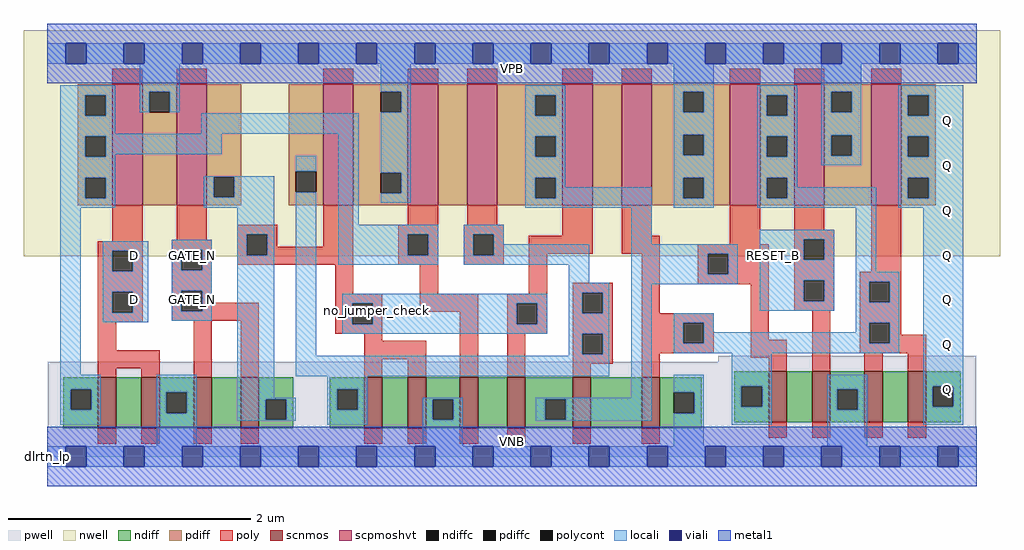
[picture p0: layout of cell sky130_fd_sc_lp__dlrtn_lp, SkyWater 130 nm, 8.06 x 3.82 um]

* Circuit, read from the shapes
.subckt sky130_fd_sc_lp__dlrtn_lp D GATE_N RESET_B VGND VNB VPB VPWR Q
XM1 n1 D n2 VNB sky130_fd_pr__nfet_01v8 w=0.42 l=0.15
XM2 VGND D n1 VNB sky130_fd_pr__nfet_01v8 w=0.42 l=0.15
XM3 n3 GATE_N VGND VNB sky130_fd_pr__nfet_01v8 w=0.42 l=0.15
XM4 n4 GATE_N n3 VNB sky130_fd_pr__nfet_01v8 w=0.42 l=0.15
XM5 n5 n4 n6 VNB sky130_fd_pr__nfet_01v8 w=0.42 l=0.15
XM6 VGND n4 n5 VNB sky130_fd_pr__nfet_01v8 w=0.42 l=0.15
XM7 n7 n2 VGND VNB sky130_fd_pr__nfet_01v8 w=0.42 l=0.15
XM8 n8 n4 n7 VNB sky130_fd_pr__nfet_01v8 w=0.42 l=0.15
XM9 n9 n6 n8 VNB sky130_fd_pr__nfet_01v8 w=0.42 l=0.15
XM10 VGND n10 n9 VNB sky130_fd_pr__nfet_01v8 w=0.42 l=0.15
XM11 n11 n8 n10 VNB sky130_fd_pr__nfet_01v8 w=0.42 l=0.15
XM12 VGND RESET_B n11 VNB sky130_fd_pr__nfet_01v8 w=0.42 l=0.15
XM13 n12 n10 VGND VNB sky130_fd_pr__nfet_01v8 w=0.42 l=0.15
XM14 Q n10 n12 VNB sky130_fd_pr__nfet_01v8 w=0.42 l=0.15
XM15 VPWR D n2 VPB sky130_fd_pr__pfet_01v8_hvt w=1 l=0.25
XM16 n4 GATE_N VPWR VPB sky130_fd_pr__pfet_01v8_hvt w=1 l=0.25
XM17 VPWR n4 n6 VPB sky130_fd_pr__pfet_01v8_hvt w=1 l=0.25
XM18 n13 n2 VPWR VPB sky130_fd_pr__pfet_01v8_hvt w=1 l=0.25
XM19 n8 n6 n13 VPB sky130_fd_pr__pfet_01v8_hvt w=1 l=0.25
XM20 n14 n4 n8 VPB sky130_fd_pr__pfet_01v8_hvt w=1 l=0.25
XM21 VPWR n10 n14 VPB sky130_fd_pr__pfet_01v8_hvt w=1 l=0.25
XM22 n10 n8 VPWR VPB sky130_fd_pr__pfet_01v8_hvt w=1 l=0.25
XM23 VPWR RESET_B n10 VPB sky130_fd_pr__pfet_01v8_hvt w=1 l=0.25
XM24 Q n10 VPWR VPB sky130_fd_pr__pfet_01v8_hvt w=1 l=0.25
.ends

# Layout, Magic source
magic
tech sky130A
magscale 1 2
<< nwell >>
rect -38 331 1574 704
<< pwell >>
rect 1109 157 1535 167
rect 1 49 1535 157
rect 0 0 1536 49
<< scnmos >>
rect 84 47 114 131
rect 156 47 186 131
rect 242 47 272 131
rect 320 47 350 131
rect 524 47 554 131
rect 596 47 626 131
rect 682 47 712 131
rect 760 47 790 131
rect 868 47 898 131
rect 982 47 1012 131
rect 1192 57 1222 141
rect 1264 57 1294 141
rect 1350 57 1380 141
rect 1422 57 1452 141
<< scpmoshvt >>
rect 108 415 158 615
rect 214 415 264 615
rect 456 415 506 615
rect 596 415 646 615
rect 694 415 744 615
rect 851 415 901 615
rect 949 415 999 615
rect 1128 415 1178 615
rect 1234 415 1284 615
rect 1361 415 1411 615
<< ndiff >>
rect 27 111 84 131
rect 27 77 39 111
rect 73 77 84 111
rect 27 47 84 77
rect 114 47 156 131
rect 186 106 242 131
rect 186 72 197 106
rect 231 72 242 106
rect 186 47 242 72
rect 272 47 320 131
rect 350 95 407 131
rect 350 61 361 95
rect 395 61 407 95
rect 350 47 407 61
rect 467 111 524 131
rect 467 77 479 111
rect 513 77 524 111
rect 467 47 524 77
rect 554 47 596 131
rect 626 95 682 131
rect 626 61 637 95
rect 671 61 682 95
rect 626 47 682 61
rect 712 47 760 131
rect 790 95 868 131
rect 790 61 823 95
rect 857 61 868 95
rect 790 47 868 61
rect 898 47 982 131
rect 1012 106 1081 131
rect 1012 72 1035 106
rect 1069 72 1081 106
rect 1012 47 1081 72
rect 1135 116 1192 141
rect 1135 82 1147 116
rect 1181 82 1192 116
rect 1135 57 1192 82
rect 1222 57 1264 141
rect 1294 111 1350 141
rect 1294 77 1305 111
rect 1339 77 1350 111
rect 1294 57 1350 77
rect 1380 57 1422 141
rect 1452 116 1509 141
rect 1452 82 1463 116
rect 1497 82 1509 116
rect 1452 57 1509 82
<< pdiff >>
rect 51 597 108 615
rect 51 563 63 597
rect 97 563 108 597
rect 51 529 108 563
rect 51 495 63 529
rect 97 495 108 529
rect 51 461 108 495
rect 51 427 63 461
rect 97 427 108 461
rect 51 415 108 427
rect 158 603 214 615
rect 158 569 169 603
rect 203 569 214 603
rect 158 415 214 569
rect 264 462 321 615
rect 264 428 275 462
rect 309 428 321 462
rect 264 415 321 428
rect 399 471 456 615
rect 399 437 411 471
rect 445 437 456 471
rect 399 415 456 437
rect 506 603 596 615
rect 506 569 551 603
rect 585 569 596 603
rect 506 469 596 569
rect 506 435 551 469
rect 585 435 596 469
rect 506 415 596 435
rect 646 415 694 615
rect 744 597 851 615
rect 744 563 806 597
rect 840 563 851 597
rect 744 529 851 563
rect 744 495 806 529
rect 840 495 851 529
rect 744 461 851 495
rect 744 427 806 461
rect 840 427 851 461
rect 744 415 851 427
rect 901 415 949 615
rect 999 603 1128 615
rect 999 569 1051 603
rect 1085 569 1128 603
rect 999 532 1128 569
rect 999 498 1051 532
rect 1085 498 1128 532
rect 999 461 1128 498
rect 999 427 1051 461
rect 1085 427 1128 461
rect 999 415 1128 427
rect 1178 597 1234 615
rect 1178 563 1189 597
rect 1223 563 1234 597
rect 1178 529 1234 563
rect 1178 495 1189 529
rect 1223 495 1234 529
rect 1178 461 1234 495
rect 1178 427 1189 461
rect 1223 427 1234 461
rect 1178 415 1234 427
rect 1284 603 1361 615
rect 1284 569 1295 603
rect 1329 569 1361 603
rect 1284 531 1361 569
rect 1284 497 1295 531
rect 1329 497 1361 531
rect 1284 415 1361 497
rect 1411 597 1468 615
rect 1411 563 1422 597
rect 1456 563 1468 597
rect 1411 529 1468 563
rect 1411 495 1422 529
rect 1456 495 1468 529
rect 1411 461 1468 495
rect 1411 427 1422 461
rect 1456 427 1468 461
rect 1411 415 1468 427
<< ndiffc >>
rect 39 77 73 111
rect 197 72 231 106
rect 361 61 395 95
rect 479 77 513 111
rect 637 61 671 95
rect 823 61 857 95
rect 1035 72 1069 106
rect 1147 82 1181 116
rect 1305 77 1339 111
rect 1463 82 1497 116
<< pdiffc >>
rect 63 563 97 597
rect 63 495 97 529
rect 63 427 97 461
rect 169 569 203 603
rect 275 428 309 462
rect 411 437 445 471
rect 551 569 585 603
rect 551 435 585 469
rect 806 563 840 597
rect 806 495 840 529
rect 806 427 840 461
rect 1051 569 1085 603
rect 1051 498 1085 532
rect 1051 427 1085 461
rect 1189 563 1223 597
rect 1189 495 1223 529
rect 1189 427 1223 461
rect 1295 569 1329 603
rect 1295 497 1329 531
rect 1422 563 1456 597
rect 1422 495 1456 529
rect 1422 427 1456 461
<< poly >>
rect 108 615 158 641
rect 214 615 264 641
rect 456 615 506 641
rect 596 615 646 641
rect 694 615 744 641
rect 851 615 901 641
rect 949 615 999 641
rect 1128 615 1178 641
rect 1234 615 1284 641
rect 1361 615 1411 641
rect 108 356 158 415
rect 214 358 264 415
rect 314 367 380 383
rect 84 340 158 356
rect 84 306 108 340
rect 142 306 158 340
rect 84 272 158 306
rect 84 238 108 272
rect 142 238 158 272
rect 84 222 158 238
rect 206 342 272 358
rect 206 308 222 342
rect 256 308 272 342
rect 314 333 330 367
rect 364 347 380 367
rect 456 347 506 415
rect 596 383 646 415
rect 694 383 744 415
rect 364 333 506 347
rect 314 317 506 333
rect 580 367 646 383
rect 580 333 596 367
rect 630 333 646 367
rect 580 317 646 333
rect 688 367 754 383
rect 688 333 704 367
rect 738 333 754 367
rect 851 365 901 415
rect 688 317 754 333
rect 796 335 901 365
rect 949 365 999 415
rect 949 335 1012 365
rect 1128 351 1178 415
rect 1234 375 1284 415
rect 1234 359 1300 375
rect 206 274 272 308
rect 206 240 222 274
rect 256 254 272 274
rect 476 269 506 317
rect 616 269 646 317
rect 796 269 826 335
rect 256 240 350 254
rect 206 224 350 240
rect 84 176 114 222
rect 84 146 186 176
rect 84 131 114 146
rect 156 131 186 146
rect 242 131 272 224
rect 320 131 350 224
rect 476 253 554 269
rect 476 219 504 253
rect 538 219 554 253
rect 616 239 712 269
rect 476 203 554 219
rect 524 191 554 203
rect 524 161 626 191
rect 524 131 554 161
rect 596 131 626 161
rect 682 131 712 239
rect 760 253 826 269
rect 760 219 776 253
rect 810 219 826 253
rect 760 203 826 219
rect 868 271 934 287
rect 868 237 884 271
rect 918 237 934 271
rect 868 203 934 237
rect 760 131 790 203
rect 868 169 884 203
rect 918 169 934 203
rect 868 153 934 169
rect 982 237 1012 335
rect 1075 335 1192 351
rect 1075 301 1091 335
rect 1125 301 1192 335
rect 1075 285 1192 301
rect 982 221 1101 237
rect 982 187 1051 221
rect 1085 187 1101 221
rect 982 171 1101 187
rect 1162 193 1192 285
rect 1234 325 1250 359
rect 1284 325 1300 359
rect 1234 291 1300 325
rect 1361 305 1411 415
rect 1234 257 1250 291
rect 1284 257 1300 291
rect 1234 241 1300 257
rect 1342 289 1411 305
rect 1342 255 1358 289
rect 1392 255 1411 289
rect 868 131 898 153
rect 982 131 1012 171
rect 1162 163 1222 193
rect 1192 141 1222 163
rect 1264 141 1294 241
rect 1342 221 1411 255
rect 1342 187 1358 221
rect 1392 201 1411 221
rect 1392 187 1452 201
rect 1342 171 1452 187
rect 1350 141 1380 171
rect 1422 141 1452 171
rect 84 21 114 47
rect 156 21 186 47
rect 242 21 272 47
rect 320 21 350 47
rect 524 21 554 47
rect 596 21 626 47
rect 682 21 712 47
rect 760 21 790 47
rect 868 21 898 47
rect 982 21 1012 47
rect 1192 31 1222 57
rect 1264 31 1294 57
rect 1350 31 1380 57
rect 1422 31 1452 57
<< polycont >>
rect 108 306 142 340
rect 108 238 142 272
rect 222 308 256 342
rect 330 333 364 367
rect 596 333 630 367
rect 704 333 738 367
rect 222 240 256 274
rect 504 219 538 253
rect 776 219 810 253
rect 884 237 918 271
rect 884 169 918 203
rect 1091 301 1125 335
rect 1051 187 1085 221
rect 1250 325 1284 359
rect 1250 257 1284 291
rect 1358 255 1392 289
rect 1358 187 1392 221
<< locali >>
rect 0 649 31 683
rect 65 649 127 683
rect 161 649 223 683
rect 257 649 319 683
rect 353 649 415 683
rect 449 649 511 683
rect 545 649 607 683
rect 641 649 703 683
rect 737 649 799 683
rect 833 649 895 683
rect 929 649 991 683
rect 1025 649 1087 683
rect 1121 649 1183 683
rect 1217 649 1279 683
rect 1313 649 1375 683
rect 1409 649 1471 683
rect 1505 649 1536 683
rect 22 597 113 613
rect 22 563 63 597
rect 97 563 113 597
rect 153 603 219 649
rect 153 569 169 603
rect 203 569 219 603
rect 551 603 601 649
rect 585 569 601 603
rect 22 533 113 563
rect 255 533 515 567
rect 22 529 289 533
rect 22 495 63 529
rect 97 499 289 529
rect 97 495 113 499
rect 22 461 113 495
rect 411 471 445 497
rect 22 427 63 461
rect 97 427 113 461
rect 22 411 113 427
rect 259 462 375 463
rect 259 428 275 462
rect 309 428 375 462
rect 259 411 375 428
rect 22 135 56 411
rect 314 367 375 411
rect 92 340 167 356
rect 92 306 108 340
rect 142 306 167 340
rect 92 272 167 306
rect 92 238 108 272
rect 142 238 167 272
rect 92 222 167 238
rect 206 342 272 358
rect 206 308 222 342
rect 256 308 272 342
rect 206 274 272 308
rect 206 240 222 274
rect 256 240 272 274
rect 206 224 272 240
rect 314 333 330 367
rect 364 333 375 367
rect 22 111 89 135
rect 22 77 39 111
rect 73 77 89 111
rect 22 53 89 77
rect 181 106 247 135
rect 181 72 197 106
rect 231 72 247 106
rect 181 17 247 72
rect 314 97 375 333
rect 411 167 445 437
rect 481 383 515 533
rect 551 469 601 569
rect 585 435 601 469
rect 551 419 601 435
rect 790 597 856 613
rect 790 563 806 597
rect 840 563 856 597
rect 790 529 856 563
rect 790 495 806 529
rect 840 495 856 529
rect 790 461 856 495
rect 790 427 806 461
rect 840 445 856 461
rect 1035 603 1101 649
rect 1035 569 1051 603
rect 1085 569 1101 603
rect 1035 532 1101 569
rect 1035 498 1051 532
rect 1085 498 1101 532
rect 1035 461 1101 498
rect 840 427 999 445
rect 790 411 999 427
rect 1035 427 1051 461
rect 1085 427 1101 461
rect 1035 411 1101 427
rect 1173 597 1239 613
rect 1173 563 1189 597
rect 1223 563 1239 597
rect 1173 529 1239 563
rect 1173 495 1189 529
rect 1223 495 1239 529
rect 1173 461 1239 495
rect 1279 603 1345 649
rect 1279 569 1295 603
rect 1329 569 1345 603
rect 1279 531 1345 569
rect 1279 497 1295 531
rect 1329 497 1345 531
rect 1279 481 1345 497
rect 1406 597 1513 613
rect 1406 563 1422 597
rect 1456 563 1513 597
rect 1406 529 1513 563
rect 1406 495 1422 529
rect 1456 495 1513 529
rect 1173 427 1189 461
rect 1223 445 1239 461
rect 1406 461 1513 495
rect 1223 427 1370 445
rect 1173 411 1370 427
rect 1406 427 1422 461
rect 1456 427 1513 461
rect 1406 411 1513 427
rect 481 367 646 383
rect 481 333 596 367
rect 630 333 646 367
rect 481 317 646 333
rect 688 367 754 383
rect 688 333 704 367
rect 738 351 754 367
rect 965 351 999 411
rect 1177 359 1300 375
rect 738 333 896 351
rect 688 317 896 333
rect 862 287 896 317
rect 965 335 1141 351
rect 965 301 1091 335
rect 1125 301 1141 335
rect 862 271 929 287
rect 488 253 826 269
rect 488 219 504 253
rect 538 219 776 253
rect 810 219 826 253
rect 488 203 826 219
rect 862 237 884 271
rect 918 237 929 271
rect 862 203 929 237
rect 862 169 884 203
rect 918 169 929 203
rect 862 167 929 169
rect 411 133 929 167
rect 965 285 1141 301
rect 1177 325 1250 359
rect 1284 325 1300 359
rect 1177 291 1300 325
rect 463 111 529 133
rect 314 95 411 97
rect 314 61 361 95
rect 395 61 411 95
rect 314 59 411 61
rect 463 77 479 111
rect 513 77 529 111
rect 965 97 999 285
rect 1177 257 1250 291
rect 1284 257 1300 291
rect 1177 241 1300 257
rect 1336 305 1370 411
rect 1336 289 1408 305
rect 1336 255 1358 289
rect 1392 255 1408 289
rect 1035 221 1101 237
rect 1035 187 1051 221
rect 1085 205 1101 221
rect 1336 221 1408 255
rect 1336 205 1358 221
rect 1085 187 1358 205
rect 1392 187 1408 221
rect 1035 171 1408 187
rect 463 53 529 77
rect 621 95 687 97
rect 621 61 637 95
rect 671 61 687 95
rect 621 17 687 61
rect 807 95 999 97
rect 807 61 823 95
rect 857 61 999 95
rect 807 59 999 61
rect 1035 106 1085 135
rect 1069 72 1085 106
rect 1035 17 1085 72
rect 1131 116 1197 171
rect 1131 82 1147 116
rect 1181 82 1197 116
rect 1131 53 1197 82
rect 1289 111 1355 135
rect 1289 77 1305 111
rect 1339 77 1355 111
rect 1289 17 1355 77
rect 1447 116 1513 411
rect 1447 82 1463 116
rect 1497 82 1513 116
rect 1447 53 1513 82
rect 0 -17 31 17
rect 65 -17 127 17
rect 161 -17 223 17
rect 257 -17 319 17
rect 353 -17 415 17
rect 449 -17 511 17
rect 545 -17 607 17
rect 641 -17 703 17
rect 737 -17 799 17
rect 833 -17 895 17
rect 929 -17 991 17
rect 1025 -17 1087 17
rect 1121 -17 1183 17
rect 1217 -17 1279 17
rect 1313 -17 1375 17
rect 1409 -17 1471 17
rect 1505 -17 1536 17
<< viali >>
rect 31 649 65 683
rect 127 649 161 683
rect 223 649 257 683
rect 319 649 353 683
rect 415 649 449 683
rect 511 649 545 683
rect 607 649 641 683
rect 703 649 737 683
rect 799 649 833 683
rect 895 649 929 683
rect 991 649 1025 683
rect 1087 649 1121 683
rect 1183 649 1217 683
rect 1279 649 1313 683
rect 1375 649 1409 683
rect 1471 649 1505 683
rect 31 -17 65 17
rect 127 -17 161 17
rect 223 -17 257 17
rect 319 -17 353 17
rect 415 -17 449 17
rect 511 -17 545 17
rect 607 -17 641 17
rect 703 -17 737 17
rect 799 -17 833 17
rect 895 -17 929 17
rect 991 -17 1025 17
rect 1087 -17 1121 17
rect 1183 -17 1217 17
rect 1279 -17 1313 17
rect 1375 -17 1409 17
rect 1471 -17 1505 17
<< metal1 >>
rect 0 683 1536 715
rect 0 649 31 683
rect 65 649 127 683
rect 161 649 223 683
rect 257 649 319 683
rect 353 649 415 683
rect 449 649 511 683
rect 545 649 607 683
rect 641 649 703 683
rect 737 649 799 683
rect 833 649 895 683
rect 929 649 991 683
rect 1025 649 1087 683
rect 1121 649 1183 683
rect 1217 649 1279 683
rect 1313 649 1375 683
rect 1409 649 1471 683
rect 1505 649 1536 683
rect 0 617 1536 649
rect 0 17 1536 49
rect 0 -17 31 17
rect 65 -17 127 17
rect 161 -17 223 17
rect 257 -17 319 17
rect 353 -17 415 17
rect 449 -17 511 17
rect 545 -17 607 17
rect 641 -17 703 17
rect 737 -17 799 17
rect 833 -17 895 17
rect 929 -17 991 17
rect 1025 -17 1087 17
rect 1121 -17 1183 17
rect 1217 -17 1279 17
rect 1313 -17 1375 17
rect 1409 -17 1471 17
rect 1505 -17 1536 17
rect 0 -49 1536 -17
<< labels >>
flabel pwell s 0 0 1536 49 0 FreeSans 200 0 0 0 VNB
port 5 nsew ground bidirectional
flabel nwell s 0 617 1536 666 0 FreeSans 200 0 0 0 VPB
port 6 nsew power bidirectional
rlabel comment s 0 0 0 0 4 dlrtn_lp
flabel comment s 544 242 544 242 0 FreeSans 200 0 0 0 no_jumper_check
flabel metal1 s 0 617 1536 666 0 FreeSans 340 0 0 0 VPWR
port 7 nsew power bidirectional
flabel metal1 s 0 0 1536 49 0 FreeSans 340 0 0 0 VGND
port 4 nsew ground bidirectional
flabel locali s 127 242 161 276 0 FreeSans 340 0 0 0 D
port 1 nsew signal input
flabel locali s 127 316 161 350 0 FreeSans 340 0 0 0 D
port 1 nsew signal input
flabel locali s 1183 316 1217 350 0 FreeSans 340 0 0 0 RESET_B
port 3 nsew signal input
flabel locali s 223 242 257 276 0 FreeSans 340 0 0 0 GATE_N
port 2 nsew clock input
flabel locali s 223 316 257 350 0 FreeSans 340 0 0 0 GATE_N
port 2 nsew clock input
flabel locali s 1471 94 1505 128 0 FreeSans 340 0 0 0 Q
port 8 nsew signal output
flabel locali s 1471 168 1505 202 0 FreeSans 340 0 0 0 Q
port 8 nsew signal output
flabel locali s 1471 242 1505 276 0 FreeSans 340 0 0 0 Q
port 8 nsew signal output
flabel locali s 1471 316 1505 350 0 FreeSans 340 0 0 0 Q
port 8 nsew signal output
flabel locali s 1471 390 1505 424 0 FreeSans 340 0 0 0 Q
port 8 nsew signal output
flabel locali s 1471 464 1505 498 0 FreeSans 340 0 0 0 Q
port 8 nsew signal output
flabel locali s 1471 538 1505 572 0 FreeSans 340 0 0 0 Q
port 8 nsew signal output
<< properties >>
string LEFsite unit
string LEFclass CORE
string FIXED_BBOX 0 0 1536 666
string GDS_FILE $PDKPATH/libs.ref/sky130_fd_sc_lp/gds/sky130_fd_sc_lp.gds
string LEFsymmetry X Y R90
string GDS_END 2678076
string GDS_START 2666284
<< end >>
